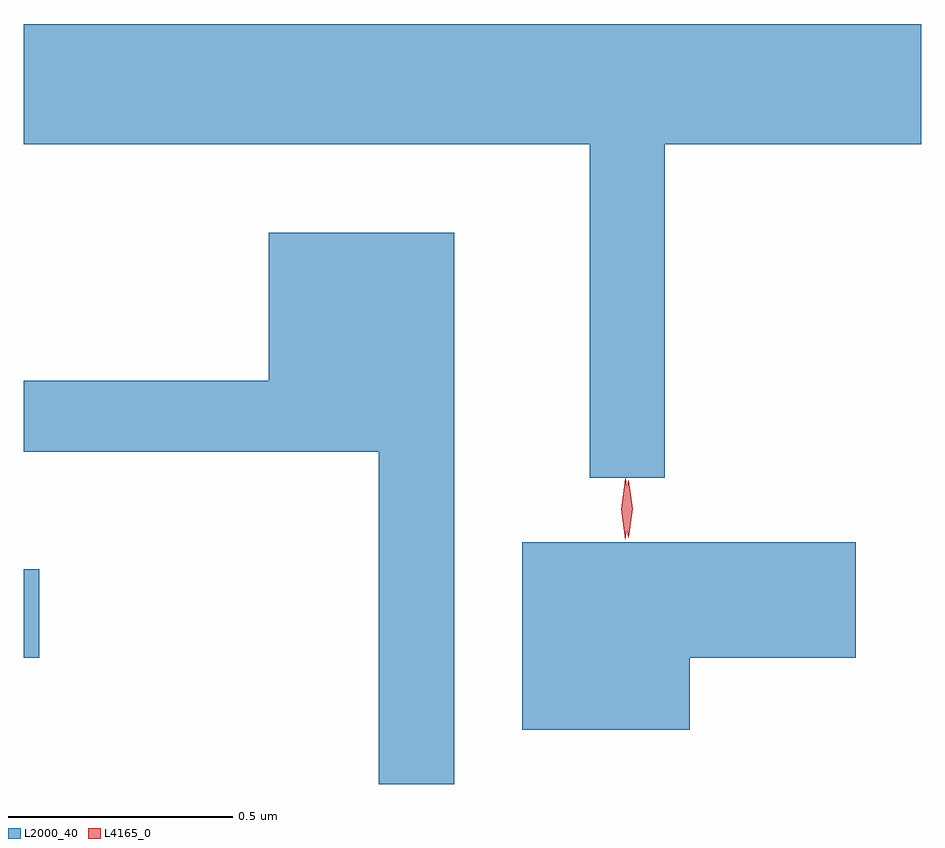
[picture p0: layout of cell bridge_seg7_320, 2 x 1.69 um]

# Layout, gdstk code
import gdstk
lib = gdstk.Library(unit=1e-6, precision=1e-09)
def R(c, l, rs):  # rectangles x0, y0, x1, y1
    for r in rs: c.add(gdstk.rectangle(r[:2], r[2:], *l))
def P(c, l, *ps):  # polygons
    for p in ps: c.add(gdstk.Polygon(p, *l))
L2000_40 = (2000, 40)
L4165_0 = (4165, 0)

bridge_seg7_320 = lib.new_cell('bridge_seg7_320')
R(bridge_seg7_320, L2000_40, [(1378.4,1775.331,1378.434,1775.529)])
P(bridge_seg7_320, L2000_40, [(1379.829,1776.476),(1380.4,1776.476),(1380.4,1776.744),(1378.4,1776.744),(1378.4,1776.476),(1379.661,1776.476),(1379.661,1775.733),(1379.829,1775.733)],
  [(1379.359,1776.279),(1378.946,1776.279),(1378.946,1775.949),(1378.4,1775.949),(1378.4,1775.791),(1379.191,1775.791),(1379.191,1775.05),(1379.359,1775.05)],
  [(1379.884,1775.331),(1380.254,1775.331),(1380.254,1775.589),(1379.511,1775.589),(1379.511,1775.171),(1379.884,1775.171)])
P(bridge_seg7_320, L4165_0, [(1379.74,1775.594),(1379.74,1775.594),(1379.731,1775.662),(1379.741,1775.73),(1379.742,1775.73),(1379.742,1775.73),(1379.751,1775.662),(1379.741,1775.594)],
  [(1379.747,1775.6),(1379.747,1775.6),(1379.737,1775.664),(1379.747,1775.726),(1379.747,1775.727),(1379.748,1775.726),(1379.757,1775.664),(1379.748,1775.6)])

lib.write_gds('bridge_seg7_320.gds')
